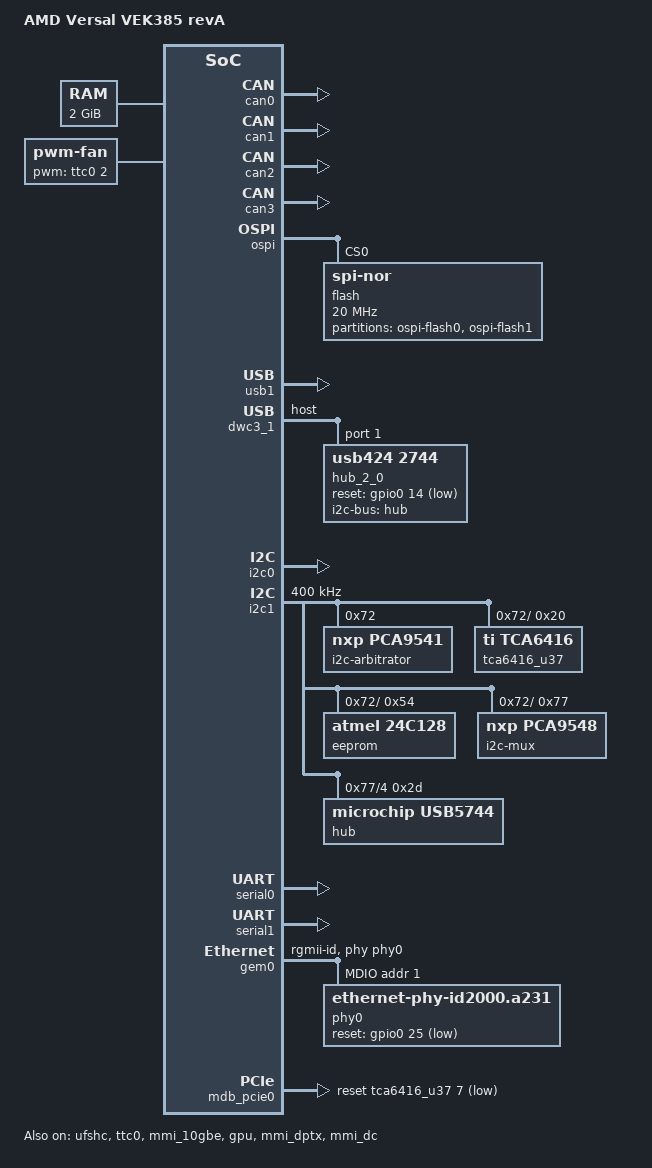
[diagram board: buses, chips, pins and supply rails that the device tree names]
// SPDX-License-Identifier: GPL-2.0
/*
 * dts file for AMD VEK385 revA
 *
 * Copyright (C) 2024 - 2025, Advanced Micro Devices, Inc.
 *
 * Michal Simek <michal.simek@amd.com>
 */

#include "versal2.dtsi"
#include "versal2-clk-ccf.dtsi"

#include <dt-bindings/gpio/gpio.h>
#include <dt-bindings/net/ti-dp83867.h>

/ {
	compatible = "amd,versal2";
	model = "AMD Versal VEK385 revA";

	chosen {
		bootargs = "earlycon=pl011,mmio32,0xf1930000 console=ttyAMA1,115200";
		stdout-path = "serial1:115200n8";
	};

	aliases {
		nvmem0 = &eeprom;
	};

	memory@0 {
		reg = <0 0 0 0x80000000>; /* Only 2GB for now */
		device_type = "memory";
	};

	reserved-memory {
		#address-cells = <2>;
		#size-cells = <2>;
		ranges;

		/* TF-A, TEE, RPUs */
		res: memory@0 {
			no-map;
			reg = <0 0 0 0x20000000>;
		};
	};

	pwm-fan {
		compatible = "pwm-fan";
		status = "okay";
		pwms = <&ttc0 2 40000 1>;
	};
};

/* u272 - TPS66993BAR usb, i2c, DP */
/* CAN at LPD_MIO12-13 FIXME */
/* CAN at LPD_MIO21-22 FIXME */

&can0 { /* PMC_MIO16-17 */
	status = "okay";
};

&can1 { /* PMC_MIO18-19 */
	status = "okay";
};

&can2 { /* PMC_MIO20-21 */
	status = "okay";
};

&can3 { /* PMC_MIO22-23 */
	status = "okay";
};

&gpio0 {
	status = "okay";
};

&ospi { /* PMC_MIO0-10, MIO12 */
	status = "okay";
	reset-names = "qspi";
	#address-cells = <1>;
	#size-cells = <0>;

	flash@0 {
		compatible = "jedec,spi-nor"; /* u25 */
		spi-max-frequency = <20000000>; /* FIXME maybe wrong */
		spi-rx-bus-width = <8>;
		spi-tx-bus-width = <8>;
		cdns,tslch-ns = <1>;
		cdns,tchsh-ns = <1>;
		cdns,tsd2d-ns = <0>;
		cdns,tshsl-ns = <0>;
		cdns,read-delay = <0>;
		reg = <0>;
		no-wp;
		broken-flash-reset;

		partitions {
			#size-cells = <1>;
			#address-cells = <1>;
			compatible = "fixed-partitions";

			partition@0 {
				reg = <0x0 0x200000>;
				label = "ospi-flash0";
			};

			partition@1 {
				reg = <0x200000 0x3e00000>;
				label = "ospi-flash1";
			};
		};
	};
};

&ufshc { /* PMC_MIO24-25 */
	status = "okay";
};

&usb1 { /* PMC_MIO27-39 */
	status = "okay";
	dma-coherent;
};

&dwc3_1 {
	status = "okay";
	dr_mode = "host";
	maximum-speed = "high-speed";
	dma-coherent;
	#address-cells = <1>;
	#size-cells = <0>;

	/* 2.0 hub on port 1 */
	hub_2_0: hub@1 {
		compatible = "usb424,2744";
		reg = <1>;
		i2c-bus = <&hub>;
		reset-gpios = <&gpio0 14 GPIO_ACTIVE_LOW>;
	};
	/* USB 3.0 is not connected */
	/* port 0 u109 USB-SD converter */
	/* port 1/2 to connector */
};

&i2c0 { /* PMC_MIO42-43 */
	status = "okay";
	/* board_i2c0 - FMC */
};

&i2c1 { /* PMC_MIO44-45 */
	status = "okay";
	#address-cells = <1>;
	#size-cells = <0>;
	bootph-all;
	clock-frequency = <400000>;

	i2c-arbitrator@72 { /* u161 */
		compatible = "nxp,pca9541";
		#address-cells = <1>;
		#size-cells = <0>;
		bootph-all;
		reg = <0x72>;

		/* board_i2c1 */
		i2c-arb {
			#address-cells = <1>;
			#size-cells = <0>;
			/*
			 * WARNING: Potential Conflict!
			 * The TCA6416 GPIO expander device is currently owned by SC as well.
			 * This design results in two software components potentially conflicting
			 * over control of the device. While no immediate issues are observed
			 * due to limited interactions.
			 * FIXME - The schematics should be revised to avoid conflicts.
			 */
			tca6416_u37: gpio@20 {
				compatible = "ti,tca6416";
				reg = <0x20>;
				#gpio-cells = <0x02>;
				gpio-controller;
			};
			eeprom: eeprom@54 { /* u35 - also at address 0x5C */
				compatible = "atmel,24c128";
				bootph-all;
				reg = <0x54>;
				/* wp via SC */
			};
			i2c-mux@77 { /* u253 */
				compatible = "nxp,pca9548";
				#address-cells = <1>;
				#size-cells = <0>;
				reg = <0x77>;
				i2c-mux-idle-disconnect;
				i2c@0 {
					#address-cells = <1>;
					#size-cells = <0>;
					reg = <0>;
					/* qsfp1 */
				};
				i2c@1 {
					#address-cells = <1>;
					#size-cells = <0>;
					reg = <1>;
					/* sfp */
				};
				i2c@2 {
					#address-cells = <1>;
					#size-cells = <0>;
					reg = <2>;
					/* usbdp */
					/* u272 tps66993 FIXME */
				};
				i2c@3 {
					#address-cells = <1>;
					#size-cells = <0>;
					reg = <3>;
					/* pcie_rp */
				};
				i2c@4 {
					#address-cells = <1>;
					#size-cells = <0>;
					reg = <4>;
					/* usb0_hub */
					hub: usb-hub@2d { /* u111 */
						compatible = "microchip,usb5744";
						reg = <0x2d>;
					};

				};
				/* 5 - 7 not connected */
			};
		};
	};
};

&serial0 { /* LPD_MIO16-17 */
	status = "okay";
};

&serial1 { /* PMC_MIO46-47 */
	status = "okay";
};

&ttc0 { /* PMC_MIO49 FAN_PWM */
	status = "okay";
	#pwm-cells = <3>;
};

&adma0 {
	dma-coherent;
};

&adma1 {
	dma-coherent;
};

&adma2 {
	dma-coherent;
};

&adma3 {
	dma-coherent;
};

&adma4 {
	dma-coherent;
};

&adma5 {
	dma-coherent;
};

&adma6 {
	dma-coherent;
};

&adma7 {
	dma-coherent;
};

&gem0 { /* MDIO PMC_MIO50/51, MIO0-11 */
	status = "okay";
	phy-handle = <&phy0>;
	phy-mode = "rgmii-id";
	dma-coherent;

	mdio: mdio {
		#address-cells = <1>;
		#size-cells = <0>;

		phy0: ethernet-phy@1 { /* u112 */
			#phy-cells = <1>;
			reg = <1>;
			compatible = "ethernet-phy-id2000.a231";
			ti,rx-internal-delay = <DP83867_RGMIIDCTL_2_25_NS>;
			ti,tx-internal-delay = <DP83867_RGMIIDCTL_2_75_NS>;
			ti,fifo-depth = <DP83867_PHYCR_FIFO_DEPTH_4_B_NIB>;
			ti,dp83867-rxctrl-strap-quirk;
			reset-assert-us = <100>;
			reset-deassert-us = <280>;
			reset-gpios = <&gpio0 25 GPIO_ACTIVE_LOW>;
		};
	};
};

&mdb_pcie0 {
	reset-gpios = <&tca6416_u37 7 GPIO_ACTIVE_LOW>;
};

&mmi_10gbe {
	status = "okay";
	phy-mode = "10gbase-r";
	fixed-link {
		speed = <10000>;
		full-duplex;
	};
};

&gpu {
	status = "okay";
};

&mmi_dptx {
	status = "okay";
};

&mmi_dcdma {
	status = "okay";
};

&mmi_dc {
	status = "okay";
};
